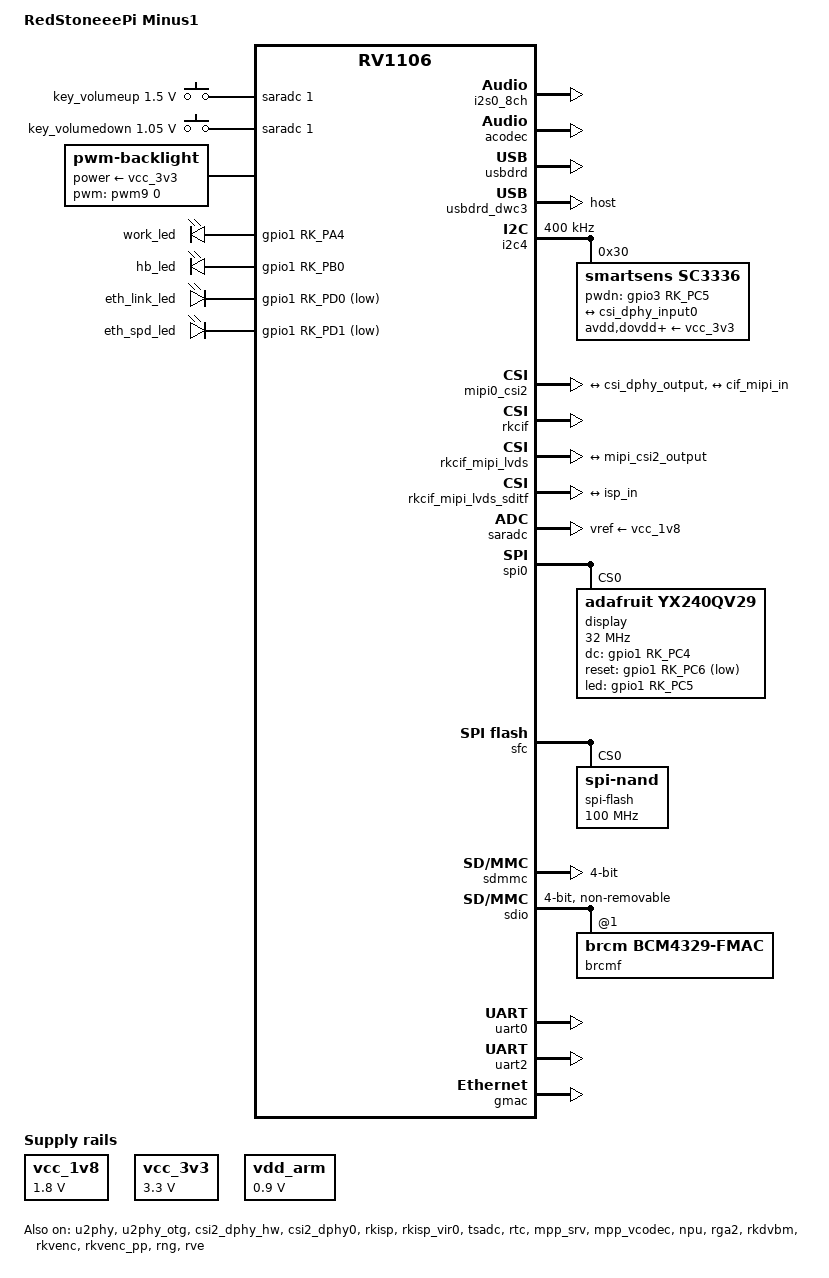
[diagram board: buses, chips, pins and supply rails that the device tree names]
// SPDX-License-Identifier: (GPL-2.0+ OR MIT)
/*
* Copyright (c) 2022 Rockchip Electronics Co., Ltd.
*/
/dts-v1/;

#include "rv1106.dtsi"
#include "rv1106-amp.dtsi"
#include <dt-bindings/input/input.h>
#include <dt-bindings/display/media-bus-format.h>

/ {
	model = "RedStoneeePi Minus1";
	
	restart-poweroff {
		compatible = "restart-poweroff";
	};
	
	chosen {
		bootargs = "earlycon=uart8250,mmio32,0xff4c0000 console=ttyS2,115200 rw rk_dma_heap_cma=64M rootwait=3 snd_soc_core.prealloc_buffer_size_kbytes=16 coherent_pool=0";
	};
	
	adc-keys {
		compatible = "adc-keys";
		io-channels = <&saradc 1>;
		io-channel-names = "buttons";
		poll-interval = <100>;
		keyup-threshold-microvolt = <1700000>;
		
		key_volumeup-key {
			label = "key_volumeup";
			linux,code = <KEY_VOLUMEUP>;
			press-threshold-microvolt = <1500000>;
		};
		
		key_volumedown-key {
			label = "key_volumedown";
			linux,code = <KEY_VOLUMEDOWN>;
			press-threshold-microvolt = <1050000>;
		};
	};
	
	backlight: backlight {
		status = "okay";
		compatible = "pwm-backlight";
		power-supply = <&vcc_3v3>;
		pwms = <&pwm9 0 25000 12500>;
		brightness-levels = <
		0   1   2   3   4   5   6   7
		8   9  10  11  12  13  14  15
		16  17  18  19  20  21  22  23
		24  25  26  27  28  29  30  31
		32  33  34  35  36  37  38  39
		40  41  42  43  44  45  46  47
		48  49  50  51  52  53  54  55
		56  57  58  59  60  61  62  63
		64  65  66  67  68  69  70  71
		72  73  74  75  76  77  78  79
		80  81  82  83  84  85  86  87
		88  89  90  91  92  93  94  95
		96  97  98  99 100 101 102 103
		104 105 106 107 108 109 110 111
		112 113 114 115 116 117 118 119
		120 121 122 123 124 125 126 127
		128 129 130 131 132 133 134 135
		136 137 138 139 140 141 142 143
		144 145 146 147 148 149 150 151
		152 153 154 155 156 157 158 159
		160 161 162 163 164 165 166 167
		168 169 170 171 172 173 174 175
		176 177 178 179 180 181 182 183
		184 185 186 187 188 189 190 191
		192 193 194 195 196 197 198 199
		200 201 202 203 204 205 206 207
		208 209 210 211 212 213 214 215
		216 217 218 219 220 221 222 223
		224 225 226 227 228 229 230 231
		232 233 234 235 236 237 238 239
		240 241 242 243 244 245 246 247
		248 249 250 251 252 253 254 255>;
		default-brightness-level = <255>;
	};
	
	
	reserved_memory: reserved-memory {
		status = "okay";
		#address-cells = <1>;
		#size-cells = <1>;
		ranges;
		drm_logo: drm-logo@00000000 {
			compatible = "rockchip,drm-logo";
			reg = <0x0 0x0>;
		};
		linux,cma {
			status = "okay";
			compatible = "shared-dma-pool";
			inactive;
			reusable;
			size = <0xA00000>;//10M
			linux,cma-default;
		};
	};
	
	acodec_sound: acodec-sound {
		compatible = "simple-audio-card";
		simple-audio-card,name = "rv1106-acodec";
		simple-audio-card,format = "i2s";
		simple-audio-card,mclk-fs = <256>;
		simple-audio-card,cpu {
			sound-dai = <&i2s0_8ch>;
		};
		simple-audio-card,codec {
			sound-dai = <&acodec>;
		};
	};
	
	vcc_1v8: vcc-1v8 {
		compatible = "regulator-fixed";
		regulator-name = "vcc_1v8";
		regulator-always-on;
		regulator-boot-on;
		regulator-min-microvolt = <1800000>;
		regulator-max-microvolt = <1800000>;
	};
	
	vcc_3v3: vcc-3v3 {
		compatible = "regulator-fixed";
		regulator-name = "vcc_3v3";
		regulator-always-on;
		regulator-boot-on;
		regulator-min-microvolt = <3300000>;
		regulator-max-microvolt = <3300000>;
	};
	
	vdd_arm: vdd-arm {
		compatible = "regulator-fixed";
		regulator-name = "vdd_arm";
		regulator-always-on;
		regulator-boot-on;
		regulator-min-microvolt = <900000>;
		regulator-max-microvolt = <900000>;
	};
	
	leds: leds {
		compatible = "gpio-leds";
		work_led: led-work {
			gpios = <&gpio1 RK_PA4 GPIO_ACTIVE_HIGH>;
			linux,default-trigger = "activity";
		};
		hb_led: led-hb {
			gpios = <&gpio1 RK_PB0 GPIO_ACTIVE_HIGH>;
			linux,default-trigger = "heartbeat";
		};
		eth_link_led: led-link {
			gpios = <&gpio1 RK_PD0 GPIO_ACTIVE_LOW>;
			linux,default-trigger = "stmmac-0:02:link";
			default-state = "off";
		};
		eth_spd_led: led-spd {
			gpios = <&gpio1 RK_PD1 GPIO_ACTIVE_LOW>;
			linux,default-trigger = "stmmac-0:02:100Mbps";
			default-state = "off";
		};
	};
	
};

/***************************** audio ********************************/
&i2s0_8ch {
	#sound-dai-cells = <0>;
	status = "okay";
};

&acodec {
	#sound-dai-cells = <0>;
	status = "okay";
};


/***************************** USB *********************************/
&u2phy {
	status = "okay";
};

&u2phy_otg {
	status = "okay";
};

&usbdrd {
	status = "okay";
};

&usbdrd_dwc3 {
	extcon = <&u2phy>;
	dr_mode = "host";
	status = "okay";
};

/***************************** DSM *********************************/
&dsm {
	status = "disabled";
};

&cpu0 {
	cpu-supply = <&vdd_arm>;
};

/*************************** CSI *********************************/
&csi2_dphy_hw {
	status = "okay";
};

&csi2_dphy0 {
	status = "okay";
	
	ports {
		#address-cells = <1>;
		#size-cells = <0>;
		
		port@0 {
			reg = <0>;
			#address-cells = <1>;
			#size-cells = <0>;
			
			csi_dphy_input0: endpoint@0 {
				reg = <0>;
				remote-endpoint = <&sc3336_out>;
				data-lanes = <1 2>;
			};
			
			// csi_dphy_input1: endpoint@1 {
			// 	reg = <1>;
			// 	remote-endpoint = <&sc4336_out>;
			// 	data-lanes = <1 2>;
			// };
			
			// csi_dphy_input2: endpoint@2 {
			// 	reg = <2>;
			// 	remote-endpoint = <&sc530ai_out>;
			// 	data-lanes = <1 2>;
			// };
		};
		
		port@1 {
			reg = <1>;
			#address-cells = <1>;
			#size-cells = <0>;
			
			csi_dphy_output: endpoint@0 {
				reg = <0>;
				remote-endpoint = <&mipi_csi2_input>;
			};
		};
	};
};

&i2c4 {
	status = "okay";
	clock-frequency = <400000>;
	pinctrl-names = "default";
	pinctrl-0 = <&i2c4m2_xfer>;
	
	sc3336: sc3336@30 {
		compatible = "smartsens,sc3336";
		status = "okay";
		reg = <0x30>;
		clocks = <&cru MCLK_REF_MIPI0>;
		clock-names = "xvclk";
		pwdn-gpios = <&gpio3 RK_PC5 GPIO_ACTIVE_HIGH>;
		// reset-gpios = <&gpio3 RK_PC5 GPIO_ACTIVE_HIGH>;
		avdd-supply = <&vcc_3v3>;
		dovdd-supply = <&vcc_3v3>;
		dvdd-supply = <&vcc_3v3>;
		pinctrl-names = "default";
		pinctrl-0 = <&mipi_refclk_out0>;
		rockchip,camera-module-index = <0>;
		rockchip,camera-module-facing = "back";
		rockchip,camera-module-name = "CMK-OT2119-PC1";
		rockchip,camera-module-lens-name = "30IRC-F16";
		port {
			sc3336_out: endpoint {
				remote-endpoint = <&csi_dphy_input0>;
				data-lanes = <1 2>;
			};
		};
	};
	
	// sc4336: sc4336@30 {
	// 	compatible = "smartsens,sc4336";
	// 	status = "okay";
	// 	reg = <0x30>;
	// 	clocks = <&cru MCLK_REF_MIPI0>;
	// 	clock-names = "xvclk";
	// 	pwdn-gpios = <&gpio3 RK_PC5 GPIO_ACTIVE_HIGH>;
	// 	pinctrl-names = "default";
	// 	pinctrl-0 = <&mipi_refclk_out0>;
	// 	rockchip,camera-module-index = <0>;
	// 	rockchip,camera-module-facing = "back";
	// 	rockchip,camera-module-name = "OT01";
	// 	rockchip,camera-module-lens-name = "40IRC_F16";
	// 	port {
	// 		sc4336_out: endpoint {
	// 			remote-endpoint = <&csi_dphy_input1>;
	// 			data-lanes = <1 2>;
	// 		};
	// 	};
	// };
	
	// sc530ai: sc530ai@30 {
	// 	compatible = "smartsens,sc530ai";
	// 	status = "okay";
	// 	reg = <0x30>;
	// 	clocks = <&cru MCLK_REF_MIPI0>;
	// 	clock-names = "xvclk";
	// 	pwdn-gpios = <&gpio3 RK_PC5 GPIO_ACTIVE_HIGH>;
	// 	pinctrl-names = "default";
	// 	pinctrl-0 = <&mipi_refclk_out0>;
	// 	rockchip,camera-module-index = <0>;
	// 	rockchip,camera-module-facing = "back";
	// 	rockchip,camera-module-name = "CMK-OT2115-PC1";
	// 	rockchip,camera-module-lens-name = "30IRC-F16";
	// 	port {
	// 		sc530ai_out: endpoint {
	// 			remote-endpoint = <&csi_dphy_input2>;
	// 			data-lanes = <1 2>;
	// 		};
	// 	};
	// };
};

&mipi0_csi2 {
	status = "okay";
	
	ports {
		#address-cells = <1>;
		#size-cells = <0>;
		
		port@0 {
			reg = <0>;
			#address-cells = <1>;
			#size-cells = <0>;
			
			mipi_csi2_input: endpoint@1 {
				reg = <1>;
				remote-endpoint = <&csi_dphy_output>;
			};
		};
		
		port@1 {
			reg = <1>;
			#address-cells = <1>;
			#size-cells = <0>;
			
			mipi_csi2_output: endpoint@0 {
				reg = <0>;
				remote-endpoint = <&cif_mipi_in>;
			};
		};
	};
};

&rkcif {
	status = "okay";
};

&rkcif_mipi_lvds {
	status = "okay";
	
	pinctrl-names = "default";
	pinctrl-0 = <&mipi_pins>;
	port {
		/* MIPI CSI-2 endpoint */
		cif_mipi_in: endpoint {
			remote-endpoint = <&mipi_csi2_output>;
		};
	};
};

&rkcif_mipi_lvds_sditf {
	status = "okay";
	
	port {
		/* MIPI CSI-2 endpoint */
		mipi_lvds_sditf: endpoint {
			remote-endpoint = <&isp_in>;
		};
	};
};

&rkisp {
	status = "okay";
};

&rkisp_vir0 {
	status = "okay";
	
	port@0 {
		isp_in: endpoint {
			remote-endpoint = <&mipi_lvds_sditf>;
		};
	};
};

/***************************** ADC ********************************/
&saradc {
	status = "okay";
	vref-supply = <&vcc_1v8>;
};

&tsadc {
	status = "okay";
};


// SPI
&spi0 {
	pinctrl-0 = <&spi0m0_pins &spi0m0_cs0>;
	#address-cells = <1>;
	#size-cells = <0>;
	status = "okay";
	display@0{
		compatible = "adafruit,yx240qv29", "ilitek,ili9341";
		reg = <0>;
		spi-max-frequency = <32000000>;
		fps = <30>;
		dc = <&gpio1 RK_PC4 GPIO_ACTIVE_HIGH>;
		reset = <&gpio1 RK_PC6 GPIO_ACTIVE_LOW>;
    	led = <&gpio1 RK_PC5 GPIO_ACTIVE_HIGH>;	//BL
		rotation = <270>;
		buswidth = <8>;
	};
};

&sfc {
	pinctrl-0 = <&fspi_pins &fspi_cs0>;
	pinctrl-names = "default";
	status = "okay";
	
	spi-flash@0 {
		#address-cells = <1>;
		#size-cells = <1>;
		compatible = "spi-nand";
		spi-max-frequency = <100000000>;
		spi-tx-bus-width = <4>;
		spi-rx-bus-width = <4>;
		reg = <0>;
		status = "okay";
	};
};

// SDIO
&sdmmc {
	bus-width = <4>;
	max-frequency = <50000000>;
	pinctrl-names = "default";
	pinctrl-0 = <&sdmmc0_clk &sdmmc0_cmd &sdmmc0_det &sdmmc0_bus4>;
	disable-wp;
	cap-sd-highspeed;
	status = "okay";
};

&sdio {
	#address-cells = <1>;
	#size-cells = <0>;
	bus-width = <4>;
	rockchip,default-sample-phase = <90>;
	pinctrl-names = "default";
	pinctrl-0 = <&sdmmc1m0_clk &sdmmc1m0_cmd &sdmmc1m0_bus4>;
	status = "okay";
	
	keep-power-in-suspend;
	supports-sdio;
	cap-sdio-irq;
	non-removable;
	disable-wp;
	cap-sd-highspeed;
	sd-uhs-sdr104;

	brcmf: wifi@1 {
		reg = <1>;
		compatible = "brcm,bcm4329-fmac";
		// interrupt-parent = <&pio>;
		// interrupts = <10 8>; /* PH10 / EINT10 */
		// interrupt-names = "host-wake";
	};
};


// UART
&uart0 {
	pinctrl-0 = <&uart0m1_xfer &uart0m1_ctsn &uart0m1_rtsn>;
	status = "okay";
	
	// bluetooth {
	// 	compatible = "brcm,bcm43438-bt";
	// 	max-speed = <2000000>;
	// 	shutdown-gpios = <&gpio0 RK_PA2 GPIO_ACTIVE_HIGH>;
	// 	device-wakeup-gpios = <&gpio0 RK_PA6 GPIO_ACTIVE_LOW>;
	// 	host-wakeup-gpios = <&gpio0 RK_PA5 GPIO_ACTIVE_LOW>;
	// 	vbat-supply = <&vcc_3v3>;
	// 	vddio-supply = <&vcc_1v8>;
	// };
};
&uart1 {
	pinctrl-0 = <&uart1m1_xfer>;
};
&uart2 {
	// Console port
	pinctrl-0 = <&uart2m1_xfer>;
	status = "okay";
};
&uart3 {
	pinctrl-0 = <&uart3m0_xfer &uart3m1_xfer>;
};
&uart4 {
	pinctrl-0 = <&uart4m0_xfer>;
};
&uart5 {
	pinctrl-0 = <&uart5m1_xfer>;
};

// PWM
&pwm0 {
	pinctrl-0 = <&pwm0m1_pins>;
};
&pwm2 {
	pinctrl-0 = <&pwm2m1_pins &pwm2m2_pins>;
};
&pwm3 {
	pinctrl-0 = <&pwm3m2_pins>;
};
&pwm4 {
	pinctrl-0 = <&pwm4m0_pins &pwm4m1_pins &pwm4m2_pins>;
};
&pwm5 {
	pinctrl-0 = <&pwm5m1_pins &pwm5m2_pins>;
};
&pwm6 {
	pinctrl-0 = <&pwm6m1_pins &pwm6m2_pins>;
};
&pwm7 {
	pinctrl-0 = <&pwm7m0_pins &pwm7m1_pins>;
};
&pwm8 {
	pinctrl-0 = <&pwm8m1_pins>;
};
&pwm9 {
	pinctrl-0 = <&pwm9m1_pins>;
};
&pwm10 {
	pinctrl-0 = <&pwm10m1_pins &pwm10m2_pins>;
};
&pwm11 {
	pinctrl-0 = <&pwm11m1_pins &pwm11m2_pins>;
};


/**********RTC**********/
&rtc {
	pinctrl-names = "default";
	pinctrl-0 = <&rtc_pins>;
	status = "okay";
};

/**********ETH**********/
&gmac {
	status = "okay";
};


// Rockchip magic
&mpp_srv {
	status = "okay";
};

&mpp_vcodec {
	status = "okay";
};

&npu {
	status = "okay";
};

&rga2 {
	status = "okay";
};

&rkdvbm {
	status = "okay";
};

&rkvenc {
	status = "okay";
};

&rkvenc_pp {
	status = "okay";
};

&rng {
	status = "okay";
};

&rve {
	status = "okay";
};

